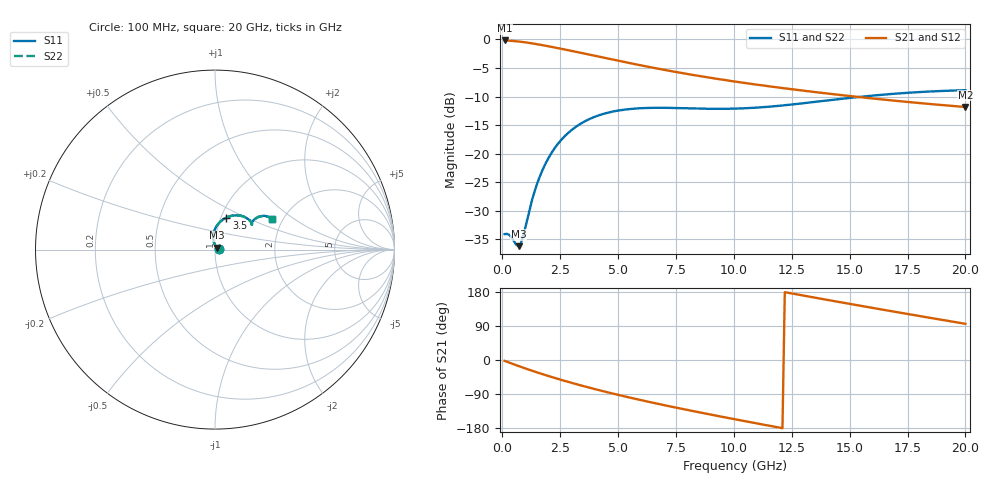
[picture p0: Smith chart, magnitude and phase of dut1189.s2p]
! Touchstone file exported from HFSS 2024.1.0
!  File:  C:/UserFiles/LocalFiles/RDL_TSV_Batchsim/temp_RDL_TSV_1189_1780127624.aedt
!  Generated:  04:10:37 PM May 30, 2026
!  Design:  RDL_TSV
!  Project:  temp_RDL_TSV_1189_1780127624
!  Setup:  Setup1
!  Solution:  Sweep
! Variables:
!  dtsv = 14.37um
!  hbump = 3um
!  htsv = 72.82um
!  ldown = 430.09um
!  lrdl = 633.92um
!  p = 40
!  p1 = 48.02um
!  rhole = 10um
!  subl = 3825.95um
!  t = 450um
!  tdown = 3.56um
!  trdl = 4.08um
!  viad = 10um
!  wdown = 14.87um
!  wrdl = 20.02um
!  xbump = 18um
# GHz S MA R 50.000000
! Terminal data exported
! Port[1] = TM1_1_T1
! Port[2] = TM1_4_T1
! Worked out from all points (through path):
!   200 points, 100 MHz to 20 GHz, reference 50 ohm
!   highest |S21| = -0.18 dB at 100 MHz (marker M1); lowest = -11.8 dB at 20 GHz (marker M2)
!   group delay of S21, straight-line fit = 34.8 ps
!   lowest |S11| = -36.2 dB at 700 MHz (marker M3), VSWR 1.03, Z = 51 + j1.16 ohm
!   |S11| at or under -10 dB: start of sweep to 15.6 GHz
!   |S22| runs from -36.2 to -8.9 dB; largest |S21 - S12| = 8.8e-15
!   S11 on the Smith chart (normalised r, x): 100 MHz: 1.04, +0.00; 3.5 GHz: 1.06, +0.39; 20 GHz: 1.75, +0.69
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0.1  0.01969 5.1  0.9797 -2.4  0.9797 -2.4  0.01969 5.1
! Gamma 0 0 0 0
! Port Impedance 50 0 50 0
0.3  0.01938 12.6  0.9751 -7.0  0.9751 -7.0  0.01937 12.6
0.7  0.01544 47.3  0.9593 -15.9  0.9593 -15.9  0.01542 47.5
0.8  0.01632 62.8  0.9541 -18.1  0.9541 -18.1  0.01633 63.0
0.9  0.01885 76.5  0.9486 -20.2  0.9486 -20.2  0.01888 76.7
1.2  0.03375 96.9  0.9298 -26.6  0.9298 -26.6  0.03385 97.0
1.4  0.047 99.9  0.9159 -30.7  0.9159 -30.7  0.04715 100.0
1.6  0.06148 99.5  0.9013 -34.7  0.9013 -34.7  0.06168 99.6
1.9  0.08416 96.3  0.8786 -40.5  0.8786 -40.5  0.08443 96.4
2.2  0.1068 91.7  0.8554 -46.1  0.8554 -46.1  0.1071 91.8
2.6  0.1354 85.0  0.8241 -53.4  0.8241 -53.4  0.1359 85.0
3.5  0.1885 70.5  0.7553 -68.8  0.7553 -68.8  0.1892 70.6
4.2  0.2173 60.9  0.7047 -79.9  0.7047 -79.9  0.2182 61.0
5.1  0.2398 50.9  0.645 -93.4  0.645 -93.4  0.2408 51.0
6.8  0.2518 38.9  0.5507 -116.7  0.5507 -116.7  0.2532 38.9
8.4  0.2481 34.4  0.4822 -136.8  0.4822 -136.8  0.2496 34.3
10.1  0.2478 34.7  0.426 -157.0  0.426 -157.0  0.2493 34.5
11.7  0.2593 36.6  0.3841 -175.4  0.3841 -175.4  0.2605 36.3
13.4  0.2821 37.6  0.3478 165.6  0.3478 165.6  0.2829 37.3
15  0.3072 36.8  0.3193 148.1  0.3193 148.1  0.3077 36.4
16.7  0.3314 34.5  0.2938 129.9  0.2938 129.9  0.3316 34.2
20  0.3591 28.7  0.2558 95.5  0.2558 95.5  0.3589 28.3
